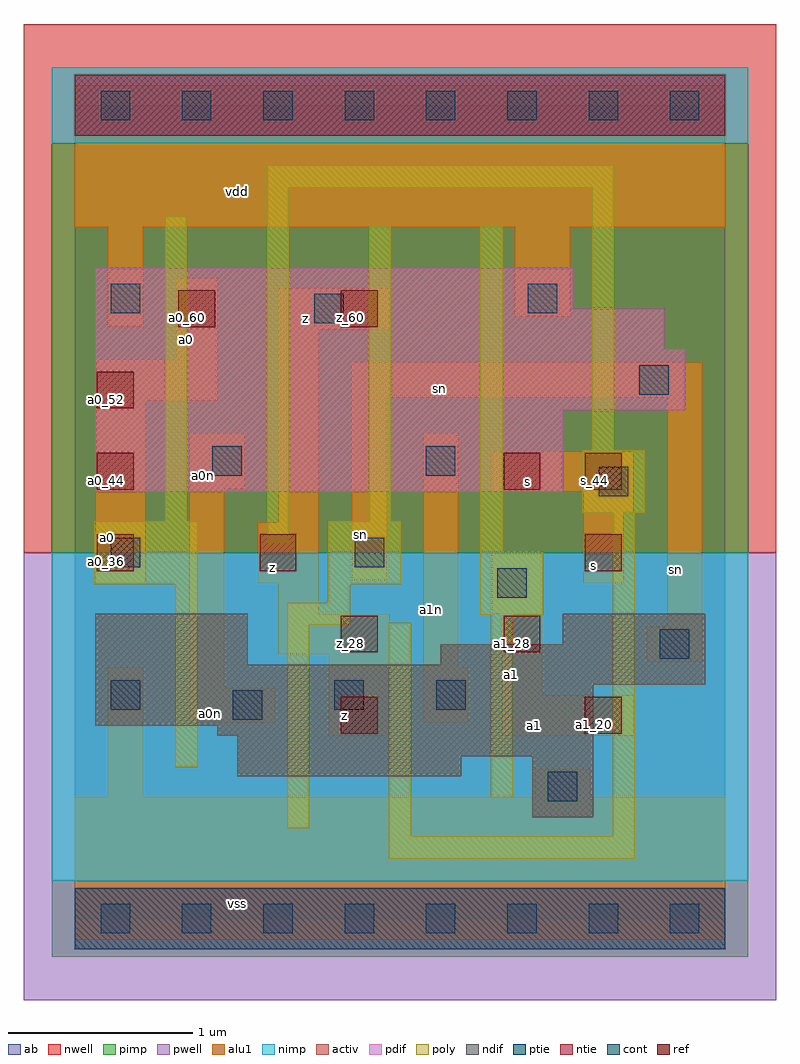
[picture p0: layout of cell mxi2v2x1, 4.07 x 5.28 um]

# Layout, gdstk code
import gdstk
lib = gdstk.Library(unit=1e-6, precision=2.5e-09)
def R(c, l, rs):  # rectangles x0, y0, x1, y1
    for r in rs: c.add(gdstk.rectangle(r[:2], r[2:], *l))
def A(c, l, x, y, w, h, nx, ny, dx, dy):  # array of equal rectangles
    R(c, l, [(x+i*dx, y+j*dy, x+i*dx+w, y+j*dy+h) for i in range(nx) for j in range(ny)])
ndif = (3, 0)
pdif = (4, 0)
ntie = (5, 0)
ptie = (6, 0)
ref = (24, 0)
cont = (25, 0)
pwell = (41, 0)
nwell = (42, 0)
activ = (43, 0)
pimp = (44, 0)
nimp = (45, 0)
poly = (46, 0)
alu1 = (49, 0)
ab = (63, 0)

mxi2v2x1 = lib.new_cell('mxi2v2x1')
R(mxi2v2x1, ndif, [(2.475,0.55,2.805,0.88), (0.88,0.77,2.09,0.88), (0.88,0.88,2.805,0.99), (0.77,0.99,2.805,1.045), (0.11,1.045,2.805,1.265), (0.11,1.265,3.41,1.375), (0.11,1.375,0.935,1.65), (1.98,1.375,3.41,1.485), (2.64,1.485,3.41,1.65)])
R(mxi2v2x1, pdif, [(0.11,2.31,2.64,2.75), (0.11,2.75,3.3,3.08), (0.11,3.08,3.19,3.3), (0.11,3.3,2.695,3.52)])
R(mxi2v2x1, ntie, [(0,4.235,3.52,4.565)])
R(mxi2v2x1, ptie, [(0,-0.165,3.52,0.165)])
A(mxi2v2x1, ref, 0.12, 1.88, 0.2, 0.2, 1, 3, 0, 0.44)
R(mxi2v2x1, ref, [(1.44,1,1.64,1.2), (2.76,1,2.96,1.2), (1.44,1.44,1.64,1.64), (2.32,1.44,2.52,1.64), (1,1.88,1.2,2.08), (2.76,1.88,2.96,2.08), (2.32,2.32,2.52,2.52), (2.76,2.32,2.96,2.52), (0.56,3.2,0.76,3.4), (1.44,3.2,1.64,3.4)])
A(mxi2v2x1, cont, 0.14, -0.08, 0.16, 0.16, 8, 2, 0.44, 4.4)
R(mxi2v2x1, cont, [(2.56,0.635,2.72,0.795), (0.855,1.075,1.015,1.235), (0.195,1.13,0.355,1.29), (1.405,1.13,1.565,1.29), (1.955,1.13,2.115,1.29), (3.165,1.405,3.325,1.565), (2.285,1.735,2.445,1.895), (0.195,1.9,0.355,2.06), (1.515,1.9,1.675,2.06), (2.835,2.285,2.995,2.445), (0.745,2.395,0.905,2.555), (1.9,2.395,2.06,2.555), (3.055,2.835,3.215,2.995), (1.295,3.22,1.455,3.38), (0.195,3.275,0.355,3.435), (2.45,3.275,2.61,3.435)])
R(mxi2v2x1, pwell, [(-0.275,-0.44,3.795,1.98)])
R(mxi2v2x1, nwell, [(-0.275,1.98,3.795,4.84)])
R(mxi2v2x1, activ, [(0,-0.165,3.52,0.165), (2.475,0.55,2.805,0.88), (0.88,0.77,2.09,0.88), (0.88,0.88,2.805,0.99), (0.77,0.99,2.805,1.045), (0.11,1.045,2.805,1.265), (0.11,1.265,3.41,1.375), (0.11,1.375,0.935,1.65), (1.98,1.375,3.41,1.485), (2.64,1.485,3.41,1.65), (0.11,2.31,2.64,2.75), (0.11,2.75,3.3,3.08), (0.11,3.08,3.19,3.3), (0.11,3.3,2.695,3.52), (0,4.235,3.52,4.565)])
R(mxi2v2x1, pimp, [(-0.125,-0.205,3.645,0.205), (-0.125,1.98,3.645,4.195)])
R(mxi2v2x1, nimp, [(-0.125,0.205,3.645,1.98), (-0.125,4.195,3.645,4.605)])
R(mxi2v2x1, poly, [(1.7,0.325,3.03,0.445), (1.7,0.445,1.82,1.6), (2.91,0.445,3.03,2.195), (1.15,0.49,1.27,1.59), (2.25,0.655,2.37,1.645), (0.545,0.82,0.665,1.81), (1.15,1.59,1.49,1.71), (2.195,1.645,2.535,1.985), (1.37,1.71,1.49,1.81), (0.105,1.81,0.665,2.15), (1.37,1.81,1.765,2.15), (2.195,1.985,2.315,3.745), (1.04,2.03,1.16,3.955), (0.49,2.15,0.61,3.8), (1.59,2.15,1.71,3.745), (2.745,2.195,3.085,2.535), (2.8,2.535,2.92,3.955), (1.04,3.955,2.92,4.075)])
R(mxi2v2x1, alu1, [(0,-0.11,3.52,0.66), (0.18,0.66,0.37,1.36), (2.49,0.66,2.79,0.81), (1.375,0.99,1.705,1.43), (2.31,0.99,3.025,1.21), (0.62,1.06,1.085,1.25), (1.885,1.06,2.13,1.36), (2.31,1.21,2.53,1.65), (0.62,1.25,0.81,2.325), (1.885,1.36,2.075,2.625), (3.095,1.39,3.395,1.58), (1.1,1.43,1.705,1.65), (3.205,1.58,3.395,2.82), (1.1,1.65,1.32,1.815), (2.255,1.65,2.53,1.98), (0.11,1.815,0.385,2.805), (0.99,1.815,1.32,2.145), (2.75,1.815,2.97,2.2), (1.5,1.83,1.69,2.82), (1.1,2.145,1.32,3.19), (2.75,2.2,3.025,2.31), (2.255,2.31,3.025,2.53), (0.62,2.325,0.92,2.625), (0.11,2.805,0.77,3.025), (1.5,2.82,3.395,3.01), (0.55,3.025,0.77,3.465), (1.1,3.19,1.705,3.41), (0.18,3.205,0.37,3.74), (2.38,3.26,2.68,3.74), (0,3.74,3.52,4.51)])
R(mxi2v2x1, ab, [(0,0,3.52,4.4)])
mxi2v2x1.add(gdstk.Label('vss', (0.88,0.0825), layer=49, texttype=0))
mxi2v2x1.add(gdstk.Label('a1', (2.4875,1.045), layer=49, texttype=0))
mxi2v2x1.add(gdstk.Label('sn', (3.2525,1.89), layer=49, texttype=0))
mxi2v2x1.add(gdstk.Label('a1', (2.365,1.32), layer=49, texttype=0))
mxi2v2x1.add(gdstk.Label('s', (2.805,1.91), layer=49, texttype=0))
mxi2v2x1.add(gdstk.Label('s', (2.4475,2.365), layer=49, texttype=0))
mxi2v2x1.add(gdstk.Label('a1n', (1.9325,1.675), layer=49, texttype=0))
mxi2v2x1.add(gdstk.Label('z', (1.4575,1.1), layer=49, texttype=0))
mxi2v2x1.add(gdstk.Label('a0n', (0.735,1.1075), layer=49, texttype=0))
mxi2v2x1.add(gdstk.Label('sn', (1.5475,2.0775), layer=49, texttype=0))
mxi2v2x1.add(gdstk.Label('sn', (1.9725,2.8675), layer=49, texttype=0))
mxi2v2x1.add(gdstk.Label('z', (1.0725,1.8975), layer=49, texttype=0))
mxi2v2x1.add(gdstk.Label('a0n', (0.695,2.4), layer=49, texttype=0))
mxi2v2x1.add(gdstk.Label('a0', (0.1775,2.0625), layer=49, texttype=0))
mxi2v2x1.add(gdstk.Label('z', (1.25,3.245), layer=49, texttype=0))
mxi2v2x1.add(gdstk.Label('a0', (0.605,3.135), layer=49, texttype=0))
mxi2v2x1.add(gdstk.Label('vdd', (0.88,3.9325), layer=49, texttype=0))
mxi2v2x1.add(gdstk.Label('s_44', (2.81,2.37), layer=24, texttype=0))
mxi2v2x1.add(gdstk.Label('z_36', (1.05,1.93), layer=24, texttype=0))
mxi2v2x1.add(gdstk.Label('z_60', (1.49,3.25), layer=24, texttype=0))
mxi2v2x1.add(gdstk.Label('s_36', (2.81,1.93), layer=24, texttype=0))
mxi2v2x1.add(gdstk.Label('s_44', (2.37,2.37), layer=24, texttype=0))
mxi2v2x1.add(gdstk.Label('a0_60', (0.61,3.25), layer=24, texttype=0))
mxi2v2x1.add(gdstk.Label('a0_52', (0.17,2.81), layer=24, texttype=0))
mxi2v2x1.add(gdstk.Label('a0_44', (0.17,2.37), layer=24, texttype=0))
mxi2v2x1.add(gdstk.Label('a1_20', (2.81,1.05), layer=24, texttype=0))
mxi2v2x1.add(gdstk.Label('a1_28', (2.37,1.49), layer=24, texttype=0))
mxi2v2x1.add(gdstk.Label('a0_36', (0.17,1.93), layer=24, texttype=0))
mxi2v2x1.add(gdstk.Label('z_20', (1.49,1.05), layer=24, texttype=0))
mxi2v2x1.add(gdstk.Label('z_28', (1.49,1.49), layer=24, texttype=0))

lib.write_gds('mxi2v2x1.gds')
